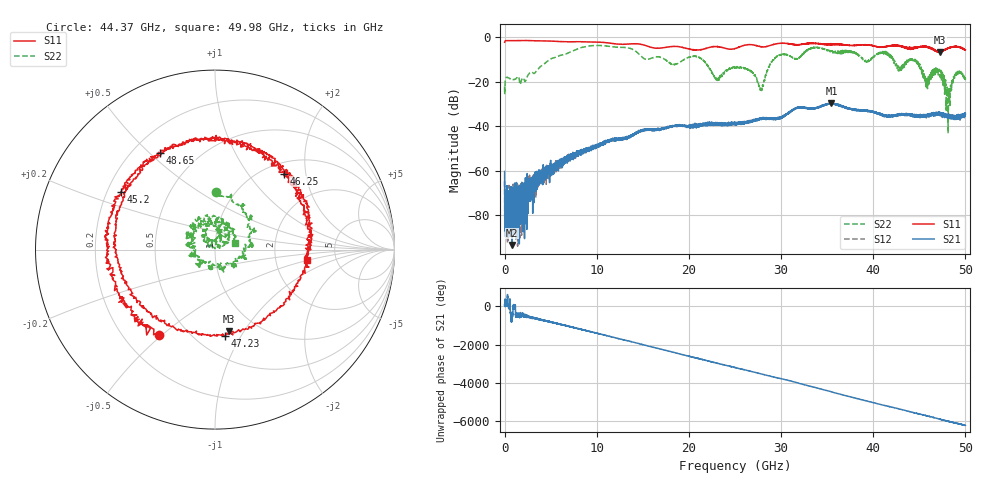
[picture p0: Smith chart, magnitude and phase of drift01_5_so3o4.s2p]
!Created with skrf (http://scikit-rf.org).
# Hz S RI R 50.0
!freq ReS11 ImS11 ReS21 ImS21 ReS12 ImS12 ReS22 ImS22
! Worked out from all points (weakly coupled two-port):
!   10001 points, 300 kHz to 50 GHz, reference 50 ohm
!   highest |S21| = -29.61 dB at 35.47 GHz (marker M1); lowest = -93.5 dB at 785.3 MHz (marker M2)
!   lowest |S11| = -6.7 dB at 47.21 GHz (marker M3), VSWR 2.72, Z = 37.1 - j43.1 ohm
!   |S11| at or under -10 dB: nowhere
!   |S22| runs from -42.9 to -3.6 dB; largest |S21 - S12| = 0.0038
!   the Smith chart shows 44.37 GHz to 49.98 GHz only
!   S11 on the Smith chart (normalised r, x): 44.37 GHz: 0.35, -0.49; 45.2 GHz: 0.26, +0.27; 46.25 GHz: 1.21, +1.52; 47.23 GHz: 0.68, -0.86; 48.65 GHz: 0.31, +0.54; 49.98 GHz: 3.04, -0.47
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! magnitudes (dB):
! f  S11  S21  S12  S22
! 300 kHz  -2.2  -60.4  -64.8  -22.1
! 255.3 MHz  -1.4  -83.3  -69.9  -18.0
! 785.3 MHz  -1.5  -93.5  -77.9  -18.9
! 8.335 GHz  -1.9  -51.7  -51.9  -4.6
! 16.67 GHz  -4.9  -41.5  -41.6  -8.7
! 20.96 GHz  -5.6  -39.4  -39.8  -8.7
! 23.07 GHz  -4.1  -38.8  -39.6  -18.5
! 25 GHz  -5.0  -38.8  -38.8  -13.7
! 27.84 GHz  -4.2  -36.5  -36.7  -22.7
! 29.47 GHz  -2.9  -36.7  -36.6  -8.8
! 33.34 GHz  -2.6  -32.2  -32.1  -4.8
! 35.47 GHz  -3.1  -29.6  -29.9  -6.7
! 41.67 GHz  -3.9  -35.2  -35.5  -7.5
! 44.37 GHz  -4.9  -35.5  -35.3  -9.8
! 45.2 GHz  -4.2  -35.4  -35.3  -13.4
! 46.25 GHz  -4.8  -34.6  -34.6  -17.2
! 47.21 GHz  -6.7  -33.7  -34.8  -16.9
! 47.23 GHz  -6.3  -34.3  -34.4  -17.6
! 48.12 GHz  -4.9  -34.8  -35.2  -42.9
! 48.65 GHz  -4.2  -36.2  -36.1  -20.3
! 49.98 GHz  -5.8  -34.3  -35.1  -18.4
! 50 GHz  -5.6  -34.5  -34.4  -18.6
